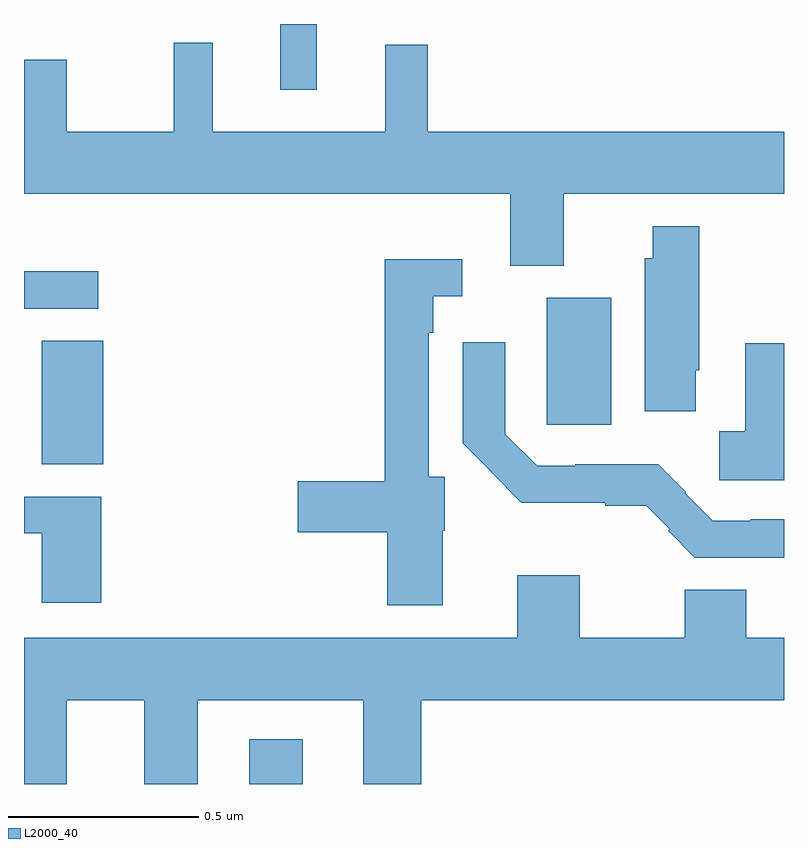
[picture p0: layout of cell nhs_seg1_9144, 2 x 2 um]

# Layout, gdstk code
import gdstk
lib = gdstk.Library(unit=1e-6, precision=1e-09)
def R(c, l, rs):  # rectangles x0, y0, x1, y1
    for r in rs: c.add(gdstk.rectangle(r[:2], r[2:], *l))
def P(c, l, *ps):  # polygons
    for p in ps: c.add(gdstk.Polygon(p, *l))
L2000_40 = (2000, 40)

nhs_seg1_9144 = lib.new_cell('nhs_seg1_9144')
R(nhs_seg1_9144, L2000_40, [(225.593,530.199,225.733,530.317), (225.047,531.04,225.208,531.365), (226.376,531.144,226.546,531.478), (225,531.45,225.196,531.548), (225.674,532.026,225.771,532.199)])
P(nhs_seg1_9144, L2000_40, [(226.42,531.752),(227,531.752),(227,531.916),(226.063,531.916),(226.063,532.144),(225.95,532.144),(225.95,531.916),(225.497,531.916),(225.497,532.15),(225.394,532.15),(225.394,531.916),(225.112,531.916),(225.112,532.105),(225,532.105),(225,531.752),(226.28,531.752),(226.28,531.563),(226.42,531.563)],
  [(226.768,531.288),(226.777,531.288),(226.777,531.667),(226.655,531.667),(226.655,531.582),(226.634,531.582),(226.634,531.18),(226.768,531.18)],
  [(226.102,530.865),(226.107,530.865),(226.107,531.008),(226.065,531.008),(226.065,531.386),(226.077,531.386),(226.077,531.483),(226.153,531.483),(226.153,531.58),(225.949,531.58),(225.949,530.996),(225.72,530.996),(225.72,530.861),(225.956,530.861),(225.956,530.669),(226.102,530.669)],
  [(227,530.896),(226.912,530.896),(226.912,530.892),(226.812,530.892),(226.74,530.964),(226.743,530.967),(226.669,531.041),(226.45,531.041),(226.45,531.036),(226.35,531.036),(226.266,531.12),(226.266,531.361),(226.154,531.361),(226.154,531.096),(226.228,531.022),(226.228,531.021),(226.309,530.939),(226.529,530.939),(226.529,530.931),(226.637,530.931),(226.699,530.869),(226.695,530.865),(226.765,530.795),(227,530.795)],
  [(227,531.359),(226.898,531.359),(226.898,531.127),(226.83,531.127),(226.83,530.998),(227,530.998)],
  [(225.203,530.955),(225,530.955),(225,530.859),(225.047,530.859),(225.047,530.676),(225.203,530.676)],
  [(225.112,530.42),(225.317,530.42),(225.317,530.199),(225.457,530.199),(225.457,530.42),(225.893,530.42),(225.893,530.199),(226.046,530.199),(226.046,530.42),(227,530.42),(227,530.584),(226.9,530.584),(226.9,530.71),(226.739,530.71),(226.739,530.584),(226.462,530.584),(226.462,530.749),(226.298,530.749),(226.298,530.584),(225,530.584),(225,530.199),(225.112,530.199)])

lib.write_gds('nhs_seg1_9144.gds')
